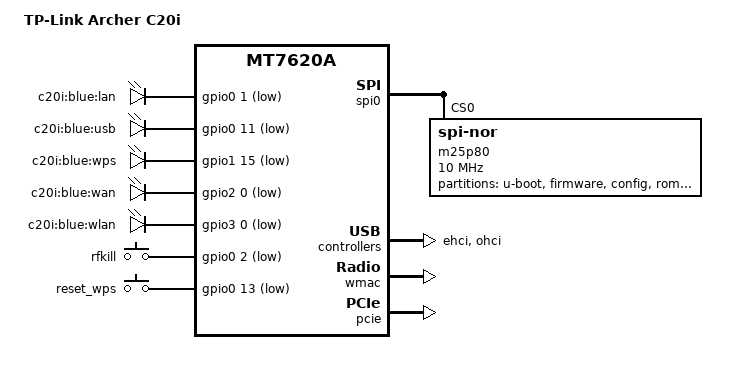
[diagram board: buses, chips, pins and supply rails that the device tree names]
/dts-v1/;

#include "mt7620a.dtsi"

#include <dt-bindings/gpio/gpio.h>
#include <dt-bindings/input/input.h>

/ {
	compatible = "tplink,c20i", "ralink,mt7620a-soc";
	model = "TP-Link Archer C20i";

	chosen {
		bootargs = "console=ttyS0,115200";
	};

	leds {
		compatible = "gpio-leds";
		lan {
			label = "c20i:blue:lan";
			gpios = <&gpio0 1 GPIO_ACTIVE_LOW>;
		};
		usb {
			label = "c20i:blue:usb";
			gpios = <&gpio0 11 GPIO_ACTIVE_LOW>;
			trigger-sources = <&ohci_port1>, <&ehci_port1>;
			linux,default-trigger = "usbport";
		};
		wps {
			label = "c20i:blue:wps";
			gpios = <&gpio1 15 GPIO_ACTIVE_LOW>;
		};
		wan {
			label = "c20i:blue:wan";
			gpios = <&gpio2 0 GPIO_ACTIVE_LOW>;
		};
		wlan {
			label = "c20i:blue:wlan";
			gpios = <&gpio3 0 GPIO_ACTIVE_LOW>;
		};
	};

	keys {
		compatible = "gpio-keys";

		rfkill {
			label = "rfkill";
			gpios = <&gpio0 2 GPIO_ACTIVE_LOW>;
			linux,code = <KEY_RFKILL>;
		};
		reset_wps {
			label = "reset_wps";
			gpios = <&gpio0 13 GPIO_ACTIVE_LOW>;
			linux,code = <KEY_RESTART>;
		};
	};
};

&gpio1 {
	status = "okay";
};

&gpio2 {
	status = "okay";
};

&gpio3 {
	status = "okay";
};

&spi0 {
	status = "okay";

	m25p80@0 {
		compatible = "jedec,spi-nor";
		reg = <0>;
		spi-max-frequency = <10000000>;

		partitions {
			compatible = "fixed-partitions";
			#address-cells = <1>;
			#size-cells = <1>;

			partition@0 {
				label = "u-boot";
				reg = <0x0 0x20000>;
				read-only;
			};

			partition@20000 {
				compatible = "tplink,firmware";
				label = "firmware";
				reg = <0x20000 0x7a0000>;
			};

			partition@7c0000 {
				label = "config";
				reg = <0x7c0000 0x10000>;
			};

			rom: partition@7d0000 {
				label = "rom";
				reg = <0x7d0000 0x10000>;
			};

			partition@7e0000 {
				label = "romfile";
				reg = <0x7e0000 0x10000>;
			};

			radio: partition@7f0000 {
				label = "radio";
				reg = <0x7f0000 0x10000>;
			};
		};
	};
};

&pinctrl {
	state_default: pinctrl0 {
		gpio {
			ralink,group = "i2c", "uartf", "rgmii1", "rgmii2", "wled", "nd_sd", "ephy", "spi refclk";
			ralink,function = "gpio";
		};
	};
};

&ethernet {
		pinctrl-names = "default";
		mtd-mac-address = <&rom 0xf100>;
		mediatek,portmap = "wllll";
	};

&ehci {
	status = "okay";
};

&ohci {
	status = "okay";
};

&gsw {
	mediatek,port4 = "ephy";
};

&wmac {
	ralink,mtd-eeprom = <&radio 0>;
};

&pcie {
	status = "okay";
};

&pcie0 {
	mt76@0,0 {
		reg = <0x0000 0 0 0 0>;
		mediatek,mtd-eeprom = <&radio 32768>;
		ieee80211-freq-limit = <5000000 6000000>;
	};
};
